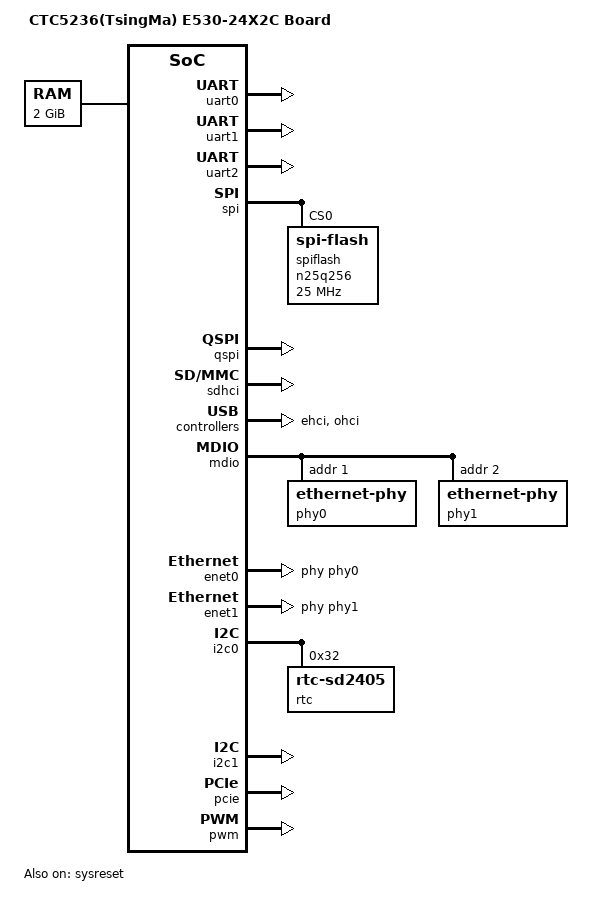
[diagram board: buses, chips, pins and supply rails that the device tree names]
/*
 * dts file for Centec CTC5236(TsingMa) SoC Emulation Board
 *
 * (C) Copyright 2004-2017 Centec Networks (suzhou) Co., LTD.
 *
 * Jay Cao <caoj@centecnetworks.com>
 *
 * This program is free software; you can redistribute it and/or
 * modify it under the terms of the GNU General Public License as
 * published by the Free Software Foundation; either version 2 of
 * the License, or (at your option) any later version.
 */

/dts-v1/;
#include "ctc5236.dtsi"

/ {
	model = " CTC5236(TsingMa) E530-24X2C Board";
	compatible = "ctc5236,e530-24x2c";

	memory {
		device_type = "memory";
		reg = <0 0x80000000 0 0x80000000>;
	};

	chosen {
		stdout-path = "serial0:115200n8";
	};

	aliases {
		serial0 = &uart0;
		serial1 = &uart1;
		serial2 = &uart2;
		spi0 = &spi;
		spi1 = &qspi;
		mmc0 = &sdhci;
		usb0 = &ehci;
		usb1 = &ohci;
		ethernet0 = &enet0;
		ethernet1 = &enet1;
		i2c0 = &i2c0;
		i2c1 = &i2c1;
		pcie0 = &pcie;
	};
};

&uart0 {
	status = "okay";
	clock = <20000000>;
};

&uart1 {
	status = "okay";
	clock = <20000000>;

};

&uart2 {
	status = "okay";
	clock = <20000000>;

};

&spi {
	status = "okay";
	
	spiflash: n25q256@0 {
		compatible = "spi-flash";
		reg = <0>;		
		pl022,interface = <0x0>; 		
		spi-max-frequency = <25000000>;
		spi-cpha; 
		spi-cpol;
	};
};

&qspi {
	status = "okay";
};

&sdhci {
	status = "okay";
	max-frequency = <100000000>;
};

&ehci {
	status = "okay";
};

&ohci {
	status = "okay";
};

&mdio {
	status = "okay";
			
	phy0: ethernet-phy@0 {
		index = <0x00>;
		reg = <0x01>;
	};
	phy1: ethernet-phy@1 {
		index = <0x01>;
		reg = <0x02>;
	};
};

&enet0 {
	status = "okay";
	phy-handle = <&phy0>;
	auto-nego-mode = "sgmii-mac";
};

&enet1 {
	status = "okay";
	phy-handle = <&phy1>;
	auto-nego-mode = "sgmii-mac";
};

&i2c0 {
        status = "okay";
		rtc:rtc@32{
			compatible = "rtc-sd2405";
			reg = <0x32>;
		};
};

&i2c1 {
        status = "okay";
};

&pcie {
        status = "okay";
};

&gpio0 {
        status = "okay";
};
&pwm {
        status = "okay";
};

&sysreset {
               status = "okay";
};
